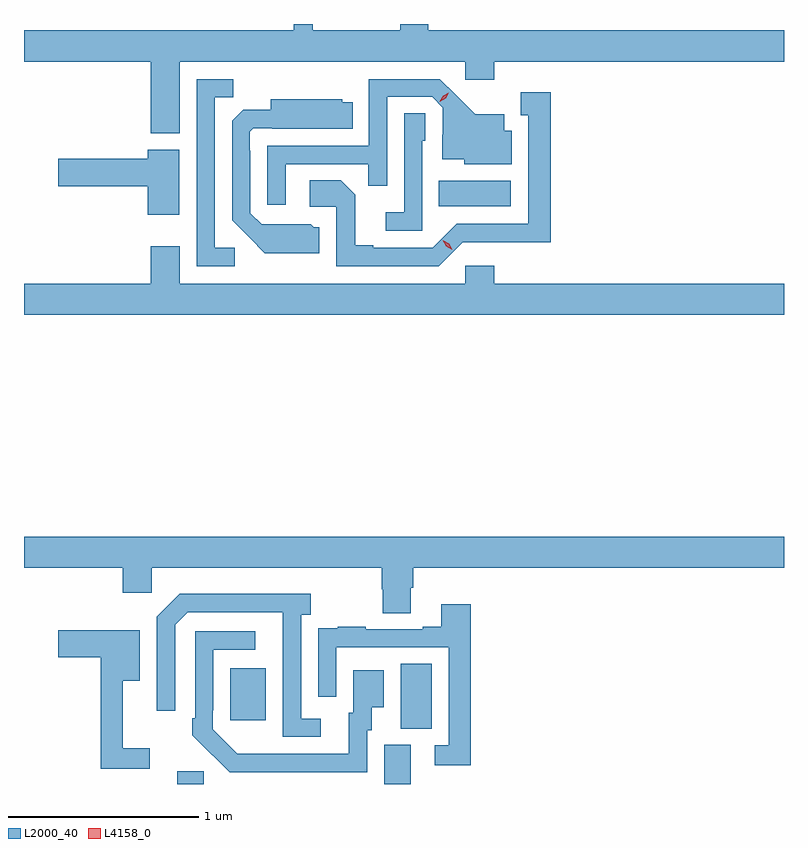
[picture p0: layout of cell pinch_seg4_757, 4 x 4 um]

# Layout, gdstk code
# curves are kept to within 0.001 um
import gdstk
lib = gdstk.Library(unit=1e-6, precision=1e-09)
def R(c, l, rs):  # rectangles x0, y0, x1, y1
    for r in rs: c.add(gdstk.rectangle(r[:2], r[2:], *l))
def P(c, l, *ps):  # polygons
    for p in ps: c.add(gdstk.Polygon(p, *l))
L2000_40 = (2000, 40)
L4158_0 = (4158, 0)

pinch_seg4_757 = lib.new_cell('pinch_seg4_757')
R(pinch_seg4_757, L2000_40, [(782.9,811.666,783.039,811.734), (783.989,811.666,784.129,811.872), (784.076,811.957,784.24,812.3), (783.179,812.001,783.367,812.275), (784.276,814.706,784.657,814.84)])
P(pinch_seg4_757, L2000_40, [(782.914,815.468),(784.416,815.468),(784.416,815.373),(784.568,815.373),(784.568,815.468),(786.094,815.468),(786.094,815.632),(784.222,815.632),(784.222,815.666),(784.075,815.666),(784.075,815.632),(783.614,815.632),(783.614,815.666),(783.515,815.666),(783.515,815.632),(782.094,815.632),(782.094,815.468),(782.762,815.468),(782.762,815.09),(782.914,815.09)],
  [(783.202,814.488),(783.099,814.488),(783.099,815.281),(783.195,815.281),(783.195,815.376),(783.003,815.376),(783.003,814.392),(783.202,814.392)],
  [(783.471,814.929),(783.907,814.929),(783.907,814.816),(784.005,814.816),(784.005,815.283),(784.242,815.283),(784.299,815.226),(784.299,815.084),(784.295,815.084),(784.295,814.955),(784.41,814.955),(784.41,814.928),(784.66,814.928),(784.66,815.104),(784.621,815.104),(784.621,815.191),(784.469,815.191),(784.282,815.376),(783.909,815.376),(783.909,815.025),(783.375,815.025),(783.375,814.716),(783.471,814.716)],
  [(784.404,814.518),(784.867,814.517),(784.867,815.308),(784.709,815.308),(784.709,815.187),(784.748,815.187),(784.748,814.614),(784.371,814.614),(784.245,814.488),(783.931,814.488),(783.931,814.501),(783.837,814.501),(783.837,814.768),(783.761,814.844),(783.597,814.844),(783.597,814.704),(783.738,814.704),(783.738,814.392),(784.278,814.392)],
  [(783.649,814.596),(783.618,814.596),(783.602,814.612),(783.345,814.611),(783.285,814.671),(783.285,815),(783.282,815),(783.282,815.1),(783.3,815.118),(783.4,815.118),(783.4,815.114),(783.824,815.114),(783.824,815.254),(783.768,815.254),(783.768,815.269),(783.392,815.269),(783.392,815.215),(783.248,815.215),(783.189,815.156),(783.189,814.634),(783.361,814.46),(783.649,814.46)],
  [(784.191,815.052),(784.206,815.052),(784.206,815.195),(784.095,815.195),(784.095,814.675),(783.999,814.675),(783.999,814.578),(784.191,814.578)],
  [(782.911,815.005),(782.744,815.005),(782.744,814.958),(782.274,814.958),(782.274,814.811),(782.744,814.811),(782.744,814.662),(782.911,814.662)],
  [(786.094,814.3),(784.568,814.3),(784.568,814.393),(784.416,814.393),(784.416,814.3),(782.914,814.3),(782.914,814.495),(782.762,814.495),(782.762,814.3),(782.094,814.3),(782.094,814.136),(786.094,814.136)],
  [(784.129,812.698),(784.142,812.698),(784.142,812.804),(786.094,812.804),(786.094,812.968),(782.094,812.968),(782.094,812.804),(782.615,812.804),(782.615,812.673),(782.766,812.673),(782.766,812.804),(783.977,812.804),(783.977,812.691),(783.982,812.691),(783.982,812.566),(784.129,812.566)],
  [(783.655,812.01),(783.552,812.01),(783.552,812.558),(783.604,812.558),(783.604,812.668),(782.914,812.668),(782.793,812.547),(782.793,812.052),(782.889,812.052),(782.889,812.505),(782.955,812.571),(783.455,812.571),(783.456,811.914),(783.655,811.914)],
  [(784.445,812.611),(784.289,812.611),(784.289,812.494),(784.193,812.494),(784.193,812.481),(783.893,812.481),(783.893,812.494),(783.745,812.494),(783.745,812.487),(783.643,812.487),(783.643,812.378),(783.642,812.378),(783.642,812.124),(783.738,812.124),(783.738,812.385),(784.329,812.385),(784.329,811.869),(784.257,811.869),(784.257,811.764),(784.445,811.764)],
  [(782.755,811.855),(782.615,811.855),(782.615,812.21),(782.704,812.21),(782.704,812.475),(782.274,812.475),(782.274,812.333),(782.497,812.333),(782.497,811.746),(782.755,811.746)],
  [(783.9,811.95),(783.925,811.95),(783.925,812.069),(783.988,812.069),(783.988,812.266),(783.827,812.266),(783.827,812.04),(783.803,812.04),(783.803,811.824),(783.216,811.825),(783.087,811.953),(783.087,812.053),(783.09,812.053),(783.09,812.373),(783.31,812.373),(783.31,812.469),(782.994,812.469),(782.994,812.011),(782.979,812.011),(782.979,811.923),(783.176,811.728),(783.9,811.728)])
P(pinch_seg4_757, L4158_0, [(784.348,814.477),(784.316,814.496),(784.299,814.528),(784.299,814.528),(784.299,814.528),(784.331,814.51),(784.348,814.477),(784.348,814.477)],
  [(784.283,815.258),(784.283,815.259),(784.3,815.289),(784.33,815.305),(784.33,815.305),(784.33,815.304),(784.313,815.274),(784.283,815.258)])

lib.write_gds('pinch_seg4_757.gds')
